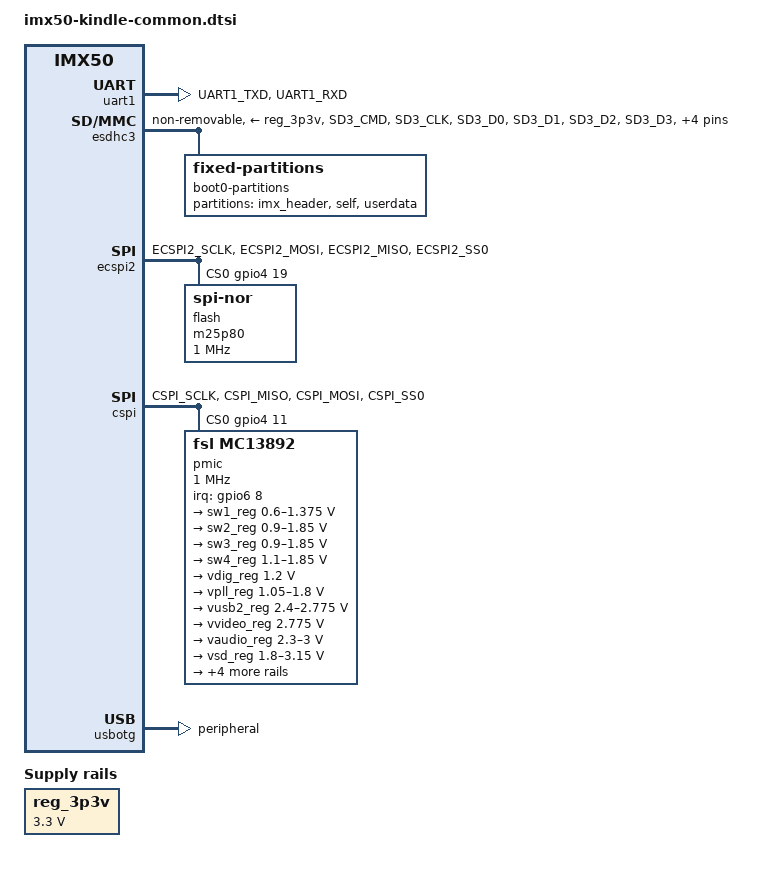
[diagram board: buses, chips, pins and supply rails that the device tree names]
/*
 * Copyright 2017 Alexander Kurz <akurz@blala.de>
 * Copyright 2013 Greg Ungerer <gerg@uclinux.org>
 * Copyright 2011 Freescale Semiconductor, Inc.
 * Copyright 2011 Linaro Ltd.
 *
 * The code contained herein is licensed under the GNU General Public
 * License. You may obtain a copy of the GNU General Public License
 * Version 2 or later at the following locations:
 *
 * http://www.opensource.org/licenses/gpl-license.html
 * http://www.gnu.org/copyleft/gpl.html
 */

#include "imx50.dtsi"
#include <dt-bindings/interrupt-controller/irq.h>
#include <dt-bindings/gpio/gpio.h>
#include <dt-bindings/input/input.h>

/ {
	/* this is a dummy fixed-voltage "regulator", mainly to satisfy
	* the esdhc implementation requiring vmmc-supply and vqmmc-supply
	*/
	reg_3p3v: regulator-3p3v {
		compatible = "regulator-fixed";
		regulator-name = "3P3V";
		regulator-min-microvolt = <3300000>;
		regulator-max-microvolt = <3300000>;
		regulator-always-on;
	};
};

&iomuxc {
	imx50-kindle {
		pinctrl_uart1: uart1grp {
			fsl,pins = <
				MX50_PAD_UART1_TXD__UART1_TXD_MUX	0xe4
				MX50_PAD_UART1_RXD__UART1_RXD_MUX	0xe4
			>;
		};

		pinctrl_ecspi2: ecspi2grp {
			fsl,pins = <
				MX50_PAD_ECSPI2_SCLK__ECSPI2_SCLK	0x84
				MX50_PAD_ECSPI2_MOSI__ECSPI2_MOSI	0x84
				MX50_PAD_ECSPI2_MISO__ECSPI2_MISO	0x84
				MX50_PAD_ECSPI2_SS0__GPIO4_19		0x84
			>;
		};

		pinctrl_cspi: cspigrp {
			fsl,pins = <
				MX50_PAD_CSPI_SCLK__CSPI_SCLK		0xc4
				MX50_PAD_CSPI_MISO__CSPI_MISO		0xc4
				MX50_PAD_CSPI_MOSI__CSPI_MOSI		0xc4
				MX50_PAD_CSPI_SS0__GPIO4_11		0xe4
			>;
		};

		pinctrl_pmic: pmicgrp {
			fsl,pins = <
				MX50_PAD_UART1_CTS__GPIO6_8		0x84
				MX50_PAD_EPDC_PWRCTRL0__GPIO3_29	0x84
			>;
		};

		pinctrl_esdhc3: esdhc3grp {
			fsl,pins = <
				MX50_PAD_SD3_CMD__ESDHC3_CMD		0xd4
				MX50_PAD_SD3_CLK__ESDHC3_CLK		0x00
				MX50_PAD_SD3_D0__ESDHC3_DAT0		0xd4
				MX50_PAD_SD3_D1__ESDHC3_DAT1		0xd4
				MX50_PAD_SD3_D2__ESDHC3_DAT2		0xd4
				MX50_PAD_SD3_D3__ESDHC3_DAT3		0xd4
				MX50_PAD_SD3_D4__ESDHC3_DAT4		0xd4
				MX50_PAD_SD3_D5__ESDHC3_DAT5		0xd4
				MX50_PAD_SD3_D6__ESDHC3_DAT6		0xd4
				MX50_PAD_SD3_D7__ESDHC3_DAT7		0xd4
			>;
		};

		pinctrl_esdhc2: esdhc2grp {
			fsl,pins = <
				MX50_PAD_SD2_CMD__ESDHC2_CMD		0x84
				MX50_PAD_SD2_CLK__ESDHC2_CLK		0x84
				MX50_PAD_SD2_D0__ESDHC2_DAT0		0x84
				MX50_PAD_SD2_D1__ESDHC2_DAT1		0x84
				MX50_PAD_SD2_D2__ESDHC2_DAT2		0x84
				MX50_PAD_SD2_D3__ESDHC2_DAT3		0x84

				MX50_PAD_EIM_DA5__GPIO1_5		0xe4 /* wake-on-lan */
				MX50_PAD_SD3_WP__GPIO5_28		0x84 /* power */
				MX50_PAD_DISP_RS__GPIO2_17		0xe4 /* ? */
			>;
		};

		pinctrl_i2c1: i2c1grp {
			fsl,pins = <
				MX50_PAD_I2C1_SCL__I2C1_SCL	0x4000002c
				MX50_PAD_I2C1_SDA__I2C1_SDA	0x4000002c
			>;
		};

		pinctrl_i2c2: i2c2grp {
			fsl,pins = <
				MX50_PAD_I2C2_SCL__I2C2_SCL	0x4000002c
				MX50_PAD_I2C2_SDA__I2C2_SDA	0x4000002c
			>;
		};

		pinctrl_i2c3: i2c3grp {
			fsl,pins = <
				MX50_PAD_I2C3_SCL__I2C3_SCL	0x4000002c
				MX50_PAD_I2C3_SDA__I2C3_SDA	0x4000002c
			>;
		};

		pinctrl_charger_detect: chargerdetectgrp {
			fsl,pins = <
				MX50_PAD_OWIRE__GPIO6_26		0xe4
			>;
		};
	};
};

&uart1 {
	pinctrl-names = "default";
	pinctrl-0 = <&pinctrl_uart1>;
	status = "okay";
};

&esdhc3 {
	pinctrl-names = "default";
	pinctrl-0 = <&pinctrl_esdhc3>;
	non-removable;
	vmmc-supply = <&reg_3p3v>;
	vqmmc-supply = <&reg_3p3v>;
	status = "okay";

	partitions {
		compatible = "fixed-partitions";
		#address-cells = <1>;
		#size-cells = <1>;

		kernel: kernel@41000 {
			label = "kernel";
			reg = <0x41000 0xe00000>;
		};

		diags_kernel: diags_kernel@e41000 {
			label = "diags_kernel";
			reg = <0xe41000 0xe00000>;
		};
	};

	boot0-partitions {
		compatible = "fixed-partitions";
		#address-cells = <1>;
		#size-cells = <1>;

		imx_header: imx_header@400 {
			label = "imx_header";
			reg = <0x400 0x800>;
		};

		self: self@1000 {
			label = "self";
			reg = <0x1000 0x3e000>;
		};

		userdata: userdata@3f000 {
			label = "userdata";
			reg = <0x3f000 0x1400>;
		};
	};
};

&ecspi2 {
	pinctrl-names = "default";
	pinctrl-0 = <&pinctrl_ecspi2>;
	fsl,spi-num-chipselects = <1>;
	cs-gpios = <&gpio4 19 0>;
	status = "okay";

	flash: m25p80@0 {
		#address-cells = <1>;
		#size-cells = <1>;
		compatible = "jedec,spi-nor";
		spi-max-frequency = <1000000>;
		reg = <0>;
	};
};

&cspi {
	pinctrl-names = "default";
	pinctrl-0 = <&pinctrl_cspi>;
	fsl,spi-num-chipselects = <1>;
	cs-gpios = <&gpio4 11 0>;
	status = "okay";

	pmic: mc13892@0 {
		compatible = "fsl,mc13892";
		pinctrl-names = "default";
		pinctrl-0 = <&pinctrl_pmic>;
		spi-max-frequency = <1000000>;
		spi-cs-high;
		reg = <0>;
		interrupt-parent = <&gpio6>;
		interrupts = <8 IRQ_TYPE_LEVEL_HIGH>;
		fsl,mc13xxx-uses-rtc;

		regulators {
			sw1_reg: sw1 {
				regulator-min-microvolt = <600000>;
				regulator-max-microvolt = <1375000>;
				regulator-boot-on;
				regulator-always-on;
			};

			sw2_reg: sw2 {
				regulator-min-microvolt = <900000>;
				regulator-max-microvolt = <1850000>;
				regulator-boot-on;
				regulator-always-on;
			};

			sw3_reg: sw3 {
				regulator-min-microvolt = <900000>;
				regulator-max-microvolt = <1850000>;
				regulator-boot-on;
				regulator-always-on;
			};

			sw4_reg: sw4 {
				regulator-min-microvolt = <1100000>;
				regulator-max-microvolt = <1850000>;
				regulator-boot-on;
				regulator-always-on;
			};

			vdig_reg: vdig {
				regulator-min-microvolt = <1200000>;
				regulator-max-microvolt = <1200000>;
				regulator-boot-on;
			};

			vpll_reg: vpll {
				regulator-min-microvolt = <1050000>;
				regulator-max-microvolt = <1800000>;
				regulator-boot-on;
				regulator-always-on;
			};

			vusb2_reg: vusb2 {
				regulator-min-microvolt = <2400000>;
				regulator-max-microvolt = <2775000>;
				regulator-boot-on;
				regulator-always-on;
			};

			vvideo_reg: vvideo {
				regulator-min-microvolt = <2775000>;
				regulator-max-microvolt = <2775000>;
			};

			vaudio_reg: vaudio {
				regulator-min-microvolt = <2300000>;
				regulator-max-microvolt = <3000000>;
			};

			vsd_reg: vsd {
				regulator-min-microvolt = <1800000>;
				regulator-max-microvolt = <3150000>;
			};

			vcam_reg: vcam {
				regulator-min-microvolt = <2500000>;
				regulator-max-microvolt = <3000000>;
			};

			vgen1_reg: vgen1 {
				regulator-min-microvolt = <3000000>;
				regulator-max-microvolt = <3000000>;
			};

			vgen2_reg: vgen2 {
				regulator-min-microvolt = <1200000>;
				regulator-max-microvolt = <3150000>;
				regulator-always-on;
			};

			vgen3_reg: vgen3 {
				regulator-min-microvolt = <1800000>;
				regulator-max-microvolt = <1800000>;
			};
		};

		leds {
			#address-cells = <1>;
			#size-cells = <0>;
			led-control = <0 0xff8 0 0>;
			ledg@2 {
				reg = <2>;
				label = "pmic_ledsg";
				linux,default-trigger = "heartbeat";
			};
		};
	};
};

&usbotg {
	phy_type = "utmi";
	dr_mode = "peripheral";
	status = "okay";
};
